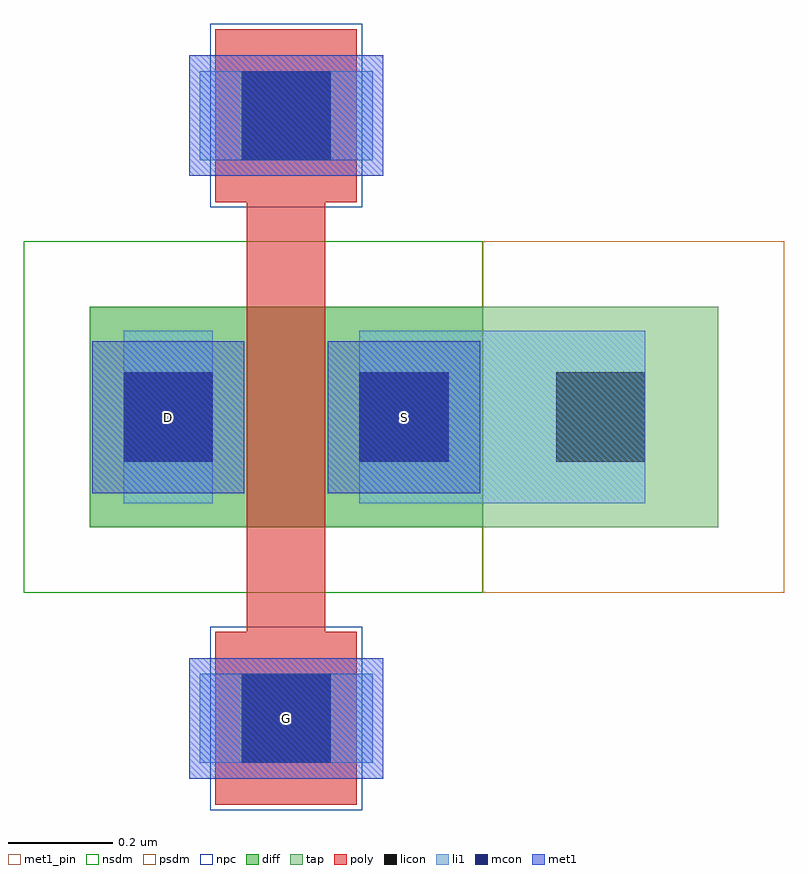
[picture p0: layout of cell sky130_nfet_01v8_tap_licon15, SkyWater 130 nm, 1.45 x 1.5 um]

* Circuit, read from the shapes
.subckt sky130_nfet_01v8_tap_licon15 D G S
XM1 S G D S sky130_fd_pr__nfet_01v8 w=0.42 l=0.15
.ends

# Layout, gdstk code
import gdstk
lib = gdstk.Library(unit=1e-6, precision=1e-09)
def R(c, l, rs):  # rectangles x0, y0, x1, y1
    for r in rs: c.add(gdstk.rectangle(r[:2], r[2:], *l))
diff = (65, 20)
tap = (65, 44)
poly = (66, 20)
licon = (66, 44)
li1 = (67, 20)
mcon = (67, 44)
met1_pin = (68, 16)
met1 = (68, 20)
nsdm = (93, 44)
psdm = (94, 20)
npc = (95, 20)

nfet_licon15 = lib.new_cell('nfet_licon15')
R(nfet_licon15, diff, [(0,0,0.75,0.42)])
R(nfet_licon15, tap, [(0.75,0,1.2,0.42)])
R(nfet_licon15, poly, [(0.24,-0.53,0.51,-0.2), (0.3,-0.2,0.45,0.62), (0.24,0.62,0.51,0.95)])
R(nfet_licon15, licon, [(0.29,-0.45,0.46,-0.28), (0.065,0.125,0.235,0.295), (0.515,0.125,0.685,0.295), (0.89,0.125,1.06,0.295), (0.29,0.7,0.46,0.87)])
R(nfet_licon15, li1, [(0.21,-0.45,0.54,-0.28), (0.065,0.045,0.235,0.375), (0.515,0.045,0.685,0.375), (0.89,0.045,1.06,0.375), (0.21,0.7,0.54,0.87)])
R(nfet_licon15, mcon, [(0.29,-0.45,0.46,-0.28), (0.065,0.125,0.235,0.295), (0.515,0.125,0.685,0.295), (0.29,0.7,0.46,0.87)])
R(nfet_licon15, met1, [(0.19,-0.48,0.56,-0.25), (0.005,0.065,0.295,0.355), (0.455,0.065,0.745,0.355), (0.19,0.67,0.56,0.9)])
R(nfet_licon15, nsdm, [(-0.125,-0.125,0.75,0.545)])
R(nfet_licon15, psdm, [(0.75,-0.125,1.325,0.545)])
R(nfet_licon15, npc, [(0.23,-0.54,0.52,-0.19), (0.23,0.61,0.52,0.96)])

sky130_nfet_01v8_tap_lic = lib.new_cell('sky130_nfet_01v8_tap_licon15')
R(sky130_nfet_01v8_tap_lic, li1, [(0.685,0.045,0.89,0.375)])
R(sky130_nfet_01v8_tap_lic, met1_pin, [(0.29,-0.45,0.46,-0.28), (0.065,0.125,0.235,0.295), (0.515,0.125,0.685,0.295)])
sky130_nfet_01v8_tap_lic.add(gdstk.Reference(nfet_licon15, (0,0)))
sky130_nfet_01v8_tap_lic.add(gdstk.Label('D', (0.15,0.21), layer=68, texttype=5))
sky130_nfet_01v8_tap_lic.add(gdstk.Label('S', (0.6,0.21), layer=68, texttype=5))
sky130_nfet_01v8_tap_lic.add(gdstk.Label('G', (0.375,-0.365), layer=68, texttype=5))

lib.write_gds('sky130_nfet_01v8_tap_licon15.gds')
